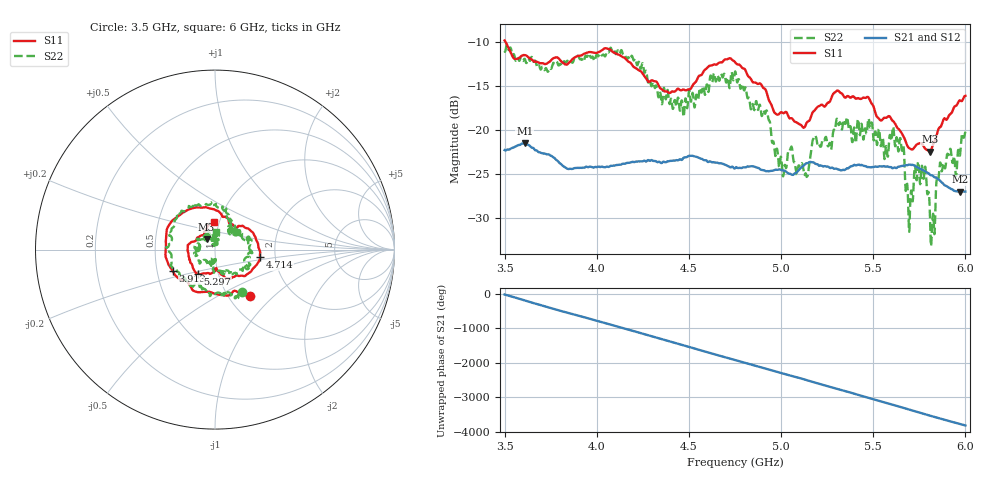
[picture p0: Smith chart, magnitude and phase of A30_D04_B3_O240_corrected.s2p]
! Created with skrf 1.9.0 (http://scikit-rf.org).
# Hz S RI R 50.0
!freq ReS11 ImS11 ReS21 ImS21 ReS12 ImS12 ReS22 ImS22
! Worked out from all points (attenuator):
!   1601 points, 3.5 GHz to 6 GHz, reference 50 ohm
!   highest |S21| = -21.54 dB at 3.609 GHz (marker M1); lowest = -27.1 dB at 5.97 GHz (marker M2)
!   lowest |S11| = -22.5 dB at 5.806 GHz (marker M3), VSWR 1.16, Z = 45.2 + j5.33 ohm
!   |S11| at or under -10 dB: 3.505 GHz to end of sweep
!   |S22| runs from -33.2 to -10.3 dB; largest |S21 - S12| = 0.001
!   S11 on the Smith chart (normalised r, x): 3.5 GHz: 1.25, -0.72; 3.913 GHz: 0.60, -0.16; 4.714 GHz: 1.66, -0.15; 5.297 GHz: 0.80, -0.22; 6 GHz: 0.94, +0.30
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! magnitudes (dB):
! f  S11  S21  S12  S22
! 3.5 GHz  -9.8  -22.3  -22.3  -11.0
! 3.609 GHz  -11.5  -21.5  -21.5  -11.9
! 3.913 GHz  -11.6  -24.3  -24.3  -12.0
! 3.917 GHz  -11.5  -24.3  -24.3  -11.9
! 4.125 GHz  -11.5  -24.0  -23.9  -11.3
! 4.334 GHz  -14.9  -23.6  -23.6  -16.3
! 4.714 GHz  -11.9  -24.2  -24.1  -14.4
! 4.75 GHz  -12.3  -24.4  -24.3  -13.4
! 4.927 GHz  -16.1  -24.7  -24.7  -18.2
! 5.017 GHz  -18.1  -24.6  -24.6  -24.3
! 5.136 GHz  -19.3  -23.8  -23.7  -25.1
! 5.167 GHz  -18.2  -23.7  -23.6  -21.7
! 5.297 GHz  -15.6  -24.4  -24.3  -19.3
! 5.584 GHz  -18.4  -24.2  -24.2  -21.7
! 5.655 GHz  -20.4  -24.1  -24.0  -22.3
! 5.702 GHz  -22.2  -24.0  -23.9  -27.8
! 5.773 GHz  -21.9  -24.6  -24.5  -25.6
! 5.806 GHz  -22.5  -25.1  -25.0  -28.7
! 5.823 GHz  -21.7  -25.2  -25.2  -29.8
! 5.87 GHz  -19.5  -26.0  -25.9  -24.6
! 5.97 GHz  -16.6  -27.1  -27.0  -22.9
! 6 GHz  -16.1  -27.0  -26.9  -20.2
